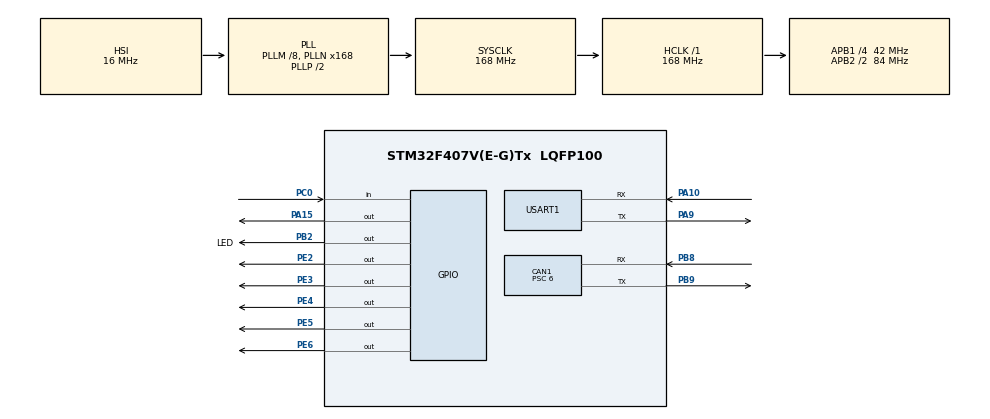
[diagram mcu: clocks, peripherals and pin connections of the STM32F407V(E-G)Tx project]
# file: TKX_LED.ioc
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CAN1.BS1=CAN_BS1_4TQ
CAN1.BS2=CAN_BS2_2TQ
CAN1.CalculateBaudRate=1000000
CAN1.CalculateTimeBit=1000
CAN1.CalculateTimeQuantum=142.85714285714286
CAN1.Prescaler=6
FREERTOS.Tasks01=defaultTask,24,128,StartDefaultTask,Default,NULL,Dynamic,NULL,NULL
Mcu.Family=STM32F4
Mcu.Name=STM32F407V(E-G)Tx
Mcu.Package=LQFP100
NVIC.CAN1_RX0_IRQn=true\:5\:0\:false\:false\:true\:true\:true\:true\:true
NVIC.PriorityGroup=NVIC_PRIORITYGROUP_4
PA10.Mode=Asynchronous
PA10.Signal=USART1_RX
PA13.Mode=Serial_Wire
PA13.Signal=SYS_JTMS-SWDIO
PA14.Mode=Serial_Wire
PA14.Signal=SYS_JTCK-SWCLK
PA15.Signal=GPIO_Output
PA9.Mode=Asynchronous
PA9.Signal=USART1_TX
PB2.GPIO_Label=LED
PB2.GPIO_Speed=GPIO_SPEED_FREQ_LOW
PB2.PinState=GPIO_PIN_RESET
PB2.Signal=GPIO_Output
PB8.Mode=CAN_Activate
PB8.Signal=CAN1_RX
PB9.Mode=CAN_Activate
PB9.Signal=CAN1_TX
PC0.Signal=GPIO_Input
PE2.GPIO_Speed=GPIO_SPEED_FREQ_VERY_HIGH
PE2.Signal=GPIO_Output
PE3.GPIO_Speed=GPIO_SPEED_FREQ_VERY_HIGH
PE3.Signal=GPIO_Output
PE4.GPIO_Speed=GPIO_SPEED_FREQ_VERY_HIGH
PE4.Signal=GPIO_Output
PE5.GPIO_Speed=GPIO_SPEED_FREQ_VERY_HIGH
PE5.Signal=GPIO_Output
PE6.GPIO_Speed=GPIO_SPEED_FREQ_VERY_HIGH
PE6.Signal=GPIO_Output
PH0-OSC_IN.Mode=HSE-External-Oscillator
PH0-OSC_IN.Signal=RCC_OSC_IN
PH1-OSC_OUT.Mode=HSE-External-Oscillator
PH1-OSC_OUT.Signal=RCC_OSC_OUT
ProjectManager.HeapSize=0x200
ProjectManager.StackSize=0x400
ProjectManager.TargetToolchain=MDK-ARM V5.32
RCC.48MHZClocksFreq_Value=84000000
RCC.AHBFreq_Value=168000000
RCC.APB1CLKDivider=RCC_HCLK_DIV4
RCC.APB1Freq_Value=42000000
RCC.APB1TimFreq_Value=84000000
RCC.APB2CLKDivider=RCC_HCLK_DIV2
RCC.APB2Freq_Value=84000000
RCC.APB2TimFreq_Value=168000000
RCC.CortexFreq_Value=168000000
RCC.HCLKFreq_Value=168000000
RCC.HSE_VALUE=8000000
RCC.HSI_VALUE=16000000
RCC.LSE_VALUE=32768
RCC.PLLM=8
RCC.PLLN=168
RCC.SYSCLKFreq_VALUE=168000000
RCC.SYSCLKSource=RCC_SYSCLKSOURCE_PLLCLK
RCC.VCOOutputFreq_Value=336000000
USART1.VirtualMode=VM_ASYNC
VP_FREERTOS_VS_CMSIS_V2.Mode=CMSIS_V2
board=custom

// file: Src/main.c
/* USER CODE BEGIN Header */
/**
  ******************************************************************************
  * @file           : main.c
  * @brief          : Main program body
  ******************************************************************************
  * @attention
  *
  * Copyright (c) 2025 STMicroelectronics.
  * All rights reserved.
  *
  * This software is licensed under terms that can be found in the LICENSE file
  * in the root directory of this software component.
  * If no LICENSE file comes with this software, it is provided AS-IS.
  *
  ******************************************************************************
  */
/* USER CODE END Header */
#include "main.h"
#include "cmsis_os.h"
#include "can.h"
#include "usart.h"
#include "gpio.h"

void SystemClock_Config(void);
void MX_FREERTOS_Init(void);

int main(void)
{

  /* MCU Configuration--------------------------------------------------------*/

  /* Reset of all peripherals, Initializes the Flash interface and the Systick. */
  HAL_Init();

  /* Configure the system clock */
  SystemClock_Config();

  /* Initialize all configured peripherals */
  MX_GPIO_Init();
  MX_USART1_UART_Init();
  MX_CAN1_Init();

  /* Init scheduler */
  osKernelInitialize();

  /* Call init function for freertos objects (in cmsis_os2.c) */
  MX_FREERTOS_Init();

  /* Start scheduler */
  osKernelStart();

  /* We should never get here as control is now taken by the scheduler */

  /* Infinite loop */
  while (1)
  {

  }
}

void SystemClock_Config(void)
{
  RCC_OscInitTypeDef RCC_OscInitStruct = {0};
  RCC_ClkInitTypeDef RCC_ClkInitStruct = {0};

  /** Configure the main internal regulator output voltage
  */
  __HAL_RCC_PWR_CLK_ENABLE();
  __HAL_PWR_VOLTAGESCALING_CONFIG(PWR_REGULATOR_VOLTAGE_SCALE1);

  /** Initializes the RCC Oscillators according to the specified parameters
  * in the RCC_OscInitTypeDef structure.
  */
  RCC_OscInitStruct.OscillatorType = RCC_OSCILLATORTYPE_HSI;
  RCC_OscInitStruct.HSIState = RCC_HSI_ON;
  RCC_OscInitStruct.HSICalibrationValue = RCC_HSICALIBRATION_DEFAULT;
  RCC_OscInitStruct.PLL.PLLState = RCC_PLL_ON;
  RCC_OscInitStruct.PLL.PLLSource = RCC_PLLSOURCE_HSI;
  RCC_OscInitStruct.PLL.PLLM = 8;
  RCC_OscInitStruct.PLL.PLLN = 168;
  RCC_OscInitStruct.PLL.PLLP = RCC_PLLP_DIV2;
  RCC_OscInitStruct.PLL.PLLQ = 4;
  if (HAL_RCC_OscConfig(&RCC_OscInitStruct) != HAL_OK)
  {
    Error_Handler();
  }

  /** Initializes the CPU, AHB and APB buses clocks
  */
  RCC_ClkInitStruct.ClockType = RCC_CLOCKTYPE_HCLK|RCC_CLOCKTYPE_SYSCLK
                              |RCC_CLOCKTYPE_PCLK1|RCC_CLOCKTYPE_PCLK2;
  RCC_ClkInitStruct.SYSCLKSource = RCC_SYSCLKSOURCE_PLLCLK;
  RCC_ClkInitStruct.AHBCLKDivider = RCC_SYSCLK_DIV1;
  RCC_ClkInitStruct.APB1CLKDivider = RCC_HCLK_DIV4;
  RCC_ClkInitStruct.APB2CLKDivider = RCC_HCLK_DIV2;

  if (HAL_RCC_ClockConfig(&RCC_ClkInitStruct, FLASH_LATENCY_5) != HAL_OK)
  {
    Error_Handler();
  }
}

void Error_Handler(void)
{
  __disable_irq();
  while (1)
  {
  }
}

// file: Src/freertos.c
/* USER CODE BEGIN Header */
/**
  ******************************************************************************
  * File Name          : freertos.c
  * Description        : Code for freertos applications
  ******************************************************************************
  * @attention
  *
  * Copyright (c) 2025 STMicroelectronics.
  * All rights reserved.
  *
  * This software is licensed under terms that can be found in the LICENSE file
  * in the root directory of this software component.
  * If no LICENSE file comes with this software, it is provided AS-IS.
  *
  ******************************************************************************
  */
/* USER CODE END Header */

#include "FreeRTOS.h"
#include "task.h"
#include "main.h"
#include "cmsis_os.h"

/* USER CODE BEGIN Includes */
#include "74HC595.h"
#include "74HC165.h"
#include "can.h"
/* USER CODE END Includes */

/* Definitions for defaultTask */
osThreadId_t defaultTaskHandle;
const osThreadAttr_t defaultTask_attributes = {
  .name = "defaultTask",
  .stack_size = 128 * 4,
  .priority = (osPriority_t) osPriorityNormal,
};

void StartDefaultTask(void *argument);

void MX_FREERTOS_Init(void); /* (MISRA C 2004 rule 8.1) */

void MX_FREERTOS_Init(void) {

  /* Create the thread(s) */
  /* creation of defaultTask */
  defaultTaskHandle = osThreadNew(StartDefaultTask, NULL, &defaultTask_attributes);

}

void StartDefaultTask(void *argument)
{
  /* USER CODE BEGIN StartDefaultTask */
  HC595_Init(); // Initialize the 74HC595
  HC165_Init(); // Initialize the 74HC165
  uint8_t ioState[3] = {0}; // Buffer to store the state of the 74HC165

  /* Infinite loop */
  for(;;)
  {
    HAL_GPIO_TogglePin(LED_GPIO_Port, LED_Pin);
    HC595_ToggleIO(0); // Toggle the first IO
    HC595_ToggleIO(1); // Toggle the first IO
    HC595_ToggleIO(2); // Toggle the first IO
    HC595_ToggleIO(3); // Toggle the first IO
    HC595_ToggleIO(4); // Toggle the first IO
    HC165_ReadMultiBytes(ioState, 3); // Read the state of the 74HC165
    printf("IO State: %02X %02X %02X\n", ioState[0], ioState[1], ioState[2]); // Print the state
    // Send CAN message
    uint8_t canData[8] = {0x01, 0x02, 0x03, 0x04, 0x05, 0x06, 0x07, 0x08};
    CAN_Send_Message(0x123, canData, 8, 0, 0); // Send a CAN message with ID 0x123
    osDelay(1000);
  }
  /* USER CODE END StartDefaultTask */
}
